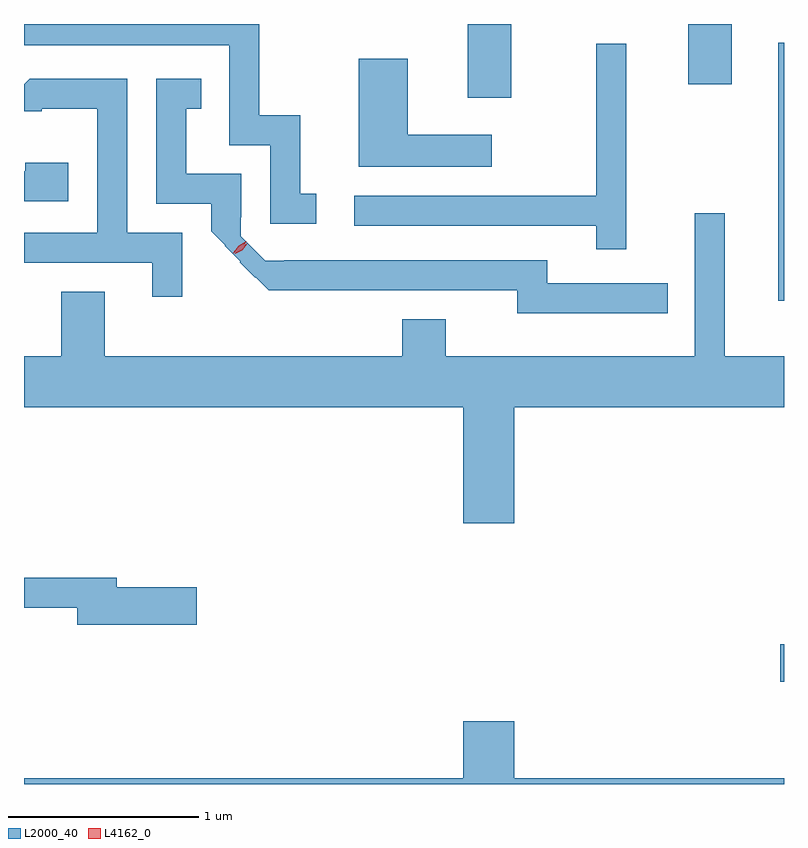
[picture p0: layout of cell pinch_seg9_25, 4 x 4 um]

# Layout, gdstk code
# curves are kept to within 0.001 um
import gdstk
lib = gdstk.Library(unit=1e-6, precision=1e-09)
def R(c, l, rs):  # rectangles x0, y0, x1, y1
    for r in rs: c.add(gdstk.rectangle(r[:2], r[2:], *l))
def P(c, l, *ps):  # polygons
    for p in ps: c.add(gdstk.Polygon(p, *l))
L2000_40 = (2000, 40)
L4162_0 = (4162, 0)

pinch_seg9_25 = lib.new_cell('pinch_seg9_25')
R(pinch_seg9_25, L2000_40, [(856.106,1979.271,856.125,1979.469), (856.096,1981.276,856.125,1982.634), (854.461,1982.346,854.689,1982.733), (855.621,1982.416,855.849,1982.733)])
P(pinch_seg9_25, L2000_40, [(853.663,1981.839),(853.579,1981.839),(853.579,1982.254),(853.364,1982.254),(853.364,1982.733),(852.125,1982.733),(852.125,1982.621),(853.206,1982.621),(853.206,1982.096),(853.421,1982.096),(853.421,1981.681),(853.663,1981.681)],
  [(855.294,1982.628),(855.136,1982.628),(855.136,1981.829),(853.863,1981.829),(853.863,1981.671),(855.136,1981.671),(855.136,1981.548),(855.294,1981.548)],
  [(854.588,1982.149),(854.144,1982.149),(854.144,1982.549),(853.886,1982.549),(853.886,1981.981),(854.588,1981.981)],
  [(852.959,1981.634),(852.669,1981.634),(852.669,1982.444),(852.154,1982.444),(852.125,1982.415),(852.125,1982.274),(852.219,1982.274),(852.219,1982.286),(852.511,1982.286),(852.511,1981.634),(852.125,1981.634),(852.125,1981.476),(852.801,1981.476),(852.801,1981.298),(852.959,1981.298)],
  [(855.513,1981.369),(854.879,1981.369),(854.879,1981.489),(853.396,1981.488),(853.266,1981.617),(853.266,1981.715),(853.269,1981.715),(853.269,1981.944),(852.979,1981.944),(852.979,1982.286),(853.058,1982.286),(853.058,1982.444),(852.821,1982.444),(852.821,1981.786),(853.111,1981.786),(853.111,1981.642),(853.184,1981.569),(853.182,1981.566),(853.264,1981.484),(853.26,1981.48),(853.342,1981.397),(853.344,1981.399),(853.412,1981.331),(854.721,1981.331),(854.721,1981.211),(855.513,1981.211)],
  [(852.359,1982.004),(852.131,1982.004),(852.131,1981.959),(852.125,1981.959),(852.125,1981.801),(852.359,1981.801)],
  [(854.704,1980.716),(856.125,1980.716),(856.125,1980.984),(855.814,1980.984),(855.814,1981.738),(855.656,1981.738),(855.656,1980.984),(854.344,1980.984),(854.344,1981.179),(854.116,1981.179),(854.116,1980.984),(852.549,1980.984),(852.549,1981.324),(852.321,1981.324),(852.321,1980.984),(852.125,1980.984),(852.125,1980.716),(854.436,1980.716),(854.436,1980.106),(854.704,1980.106)],
  [(853.034,1979.769),(852.614,1979.769),(852.614,1979.819),(852.125,1979.819),(852.125,1979.661),(852.406,1979.661),(852.406,1979.571),(853.034,1979.571)],
  [(856.125,1978.764),(854.704,1978.764),(854.704,1979.064),(854.436,1979.064),(854.436,1978.764),(852.125,1978.764),(852.125,1978.733),(856.125,1978.733)])
P(pinch_seg9_25, L4162_0, [(853.225,1981.527),(853.225,1981.528),(853.254,1981.565),(853.295,1981.589),(853.296,1981.589),(853.296,1981.588),(853.267,1981.551),(853.226,1981.527)],
  [(853.235,1981.523),(853.235,1981.524),(853.26,1981.558),(853.298,1981.577),(853.299,1981.577),(853.299,1981.576),(853.273,1981.543),(853.236,1981.523)])

lib.write_gds('pinch_seg9_25.gds')
